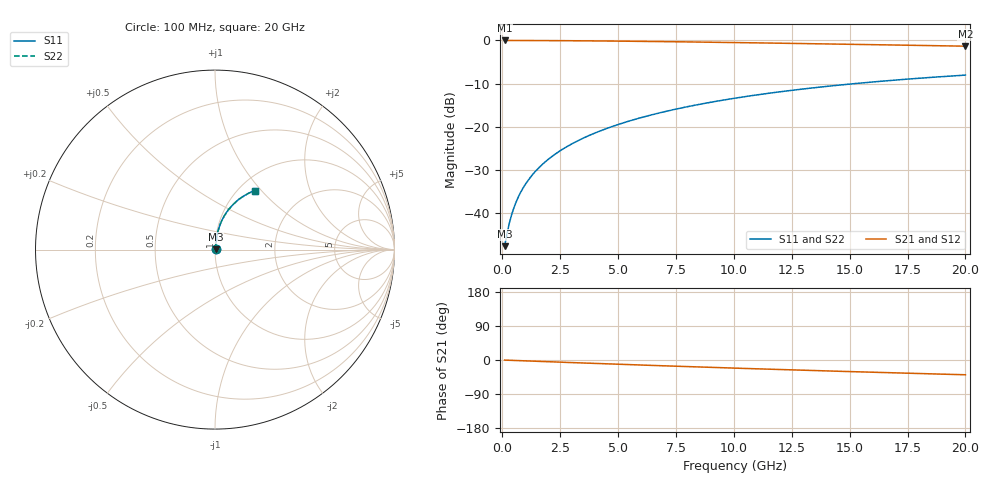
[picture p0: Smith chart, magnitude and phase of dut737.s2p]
! Touchstone file exported from HFSS 2024.1.0
!  File:  C:/UserFiles/LocalFiles/RDL_TSV_Batchsim/temp_RDL_top_737_1779851278.aedt
!  Generated:  11:10:19 AM May 27, 2026
!  Design:  RDL_top
!  Project:  temp_RDL_top_737_1779851278
!  Setup:  Setup1
!  Solution:  Sweep
! Variables:
!  dtsv = 10.80580581um
!  hbump = 3um
!  htsv = 74.79um
!  ldown = 100um
!  lrdl = 523.66um
!  p = 40
!  p1 = 47.79um
!  rhole = 1um
!  t = 450um
!  tdown = 3.915915916um
!  trdl = 3.18um
!  wdown = 15.38538539um
!  wrdl = 17.3um
# GHz S MA R 50.000000
! Terminal data exported
! Port[1] = Box2_T1
! Port[2] = Box2_T2
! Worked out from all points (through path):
!   200 points, 100 MHz to 20 GHz, reference 50 ohm
!   highest |S21| = -0.03 dB at 100 MHz (marker M1); lowest = -1.4 dB at 20 GHz (marker M2)
!   group delay of S21, straight-line fit = 5.4 ps
!   lowest |S11| = -47.6 dB at 100 MHz (marker M3), VSWR 1.01, Z = 50.4 + j0.227 ohm
!   |S11| at or under -10 dB: start of sweep to 15.22 GHz
!   |S22| runs from -47.6 to -8.0 dB; largest |S21 - S12| = 3.3e-15
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0.1  0.00419 32.6  0.9965 -0.2  0.9965 -0.2  0.00419 32.6
! Gamma 0 0 0 0
! Port Impedance 50 0 50 0
0.2  0.005768 51.0  0.9964 -0.5  0.9964 -0.5  0.005768 51.0
0.3  0.007648 60.5  0.9962 -0.7  0.9962 -0.7  0.007648 60.5
0.4  0.009619 66.0  0.996 -0.9  0.996 -0.9  0.009619 66.0
0.5  0.01162 69.6  0.9959 -1.2  0.9959 -1.2  0.01162 69.6
0.6  0.01363 72.1  0.9957 -1.4  0.9957 -1.4  0.01363 72.1
0.8  0.01768 75.5  0.9954 -1.9  0.9954 -1.9  0.01768 75.5
1.1  0.02381 78.4  0.9949 -2.5  0.9949 -2.5  0.02381 78.4
1.3  0.02793 79.6  0.9945 -3.0  0.9945 -3.0  0.02793 79.5
1.6  0.03416 80.7  0.9939 -3.7  0.9939 -3.7  0.03415 80.7
2.1  0.04461 81.7  0.9925 -4.8  0.9925 -4.8  0.04461 81.7
2.7  0.05725 82.1  0.9905 -6.1  0.9905 -6.1  0.05725 82.1
3.5  0.07426 81.9  0.9872 -7.9  0.9872 -7.9  0.07425 81.9
4.2  0.08924 81.4  0.9838 -9.5  0.9838 -9.5  0.08924 81.4
5  0.1065 80.6  0.9793 -11.2  0.9793 -11.2  0.1065 80.6
5.9  0.1259 79.5  0.9737 -13.1  0.9737 -13.1  0.1259 79.5
6.8  0.1454 78.2  0.9676 -15.0  0.9676 -15.0  0.1454 78.2
8.4  0.1798 75.7  0.9558 -18.2  0.9558 -18.2  0.1798 75.7
10.1  0.2157 72.9  0.9422 -21.6  0.9422 -21.6  0.2157 72.9
13.4  0.2821 67.1  0.9142 -27.7  0.9142 -27.7  0.2821 67.1
16.7  0.3426 61.4  0.885 -33.5  0.885 -33.5  0.3426 61.4
20  0.3965 56.0  0.8556 -39.0  0.8556 -39.0  0.3965 56.0
